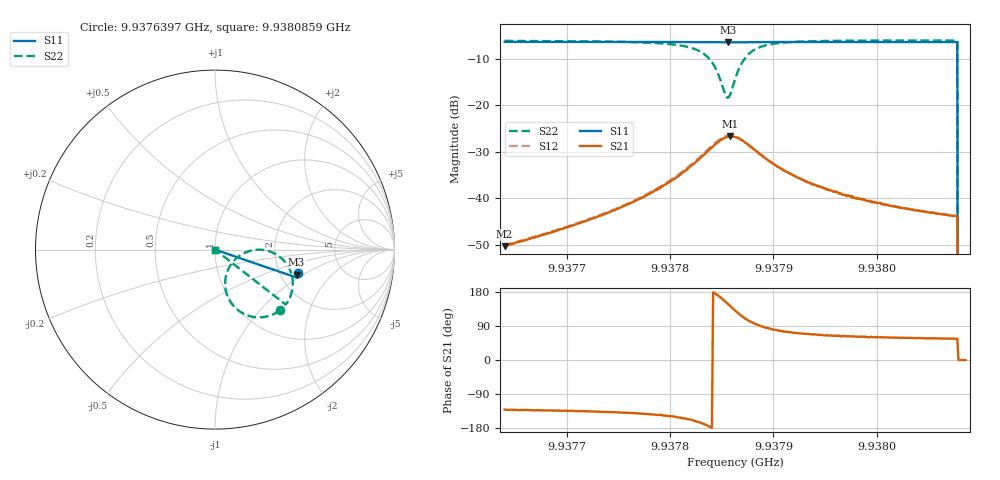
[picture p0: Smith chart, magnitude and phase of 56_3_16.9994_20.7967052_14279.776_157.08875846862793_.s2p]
#  HZ  S  RI  R  50.00
! Rohde & Schwarz Vector Network Analyzer
! Rohde-Schwarz,ZNB20-2Port,1311601062101988,3.16
! Created: UTC 3/20/2024, 10:54:37 PM
! freq[Hz]  re:S11  im:S11  re:S21  im:S21  re:S12  im:S12  re:S22  im:S22
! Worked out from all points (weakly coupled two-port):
!   401 points, 9.9376397 GHz to 9.9380859 GHz, reference 50 ohm
!   highest |S21| = -26.66 dB at 9.9378584 GHz (marker M1); lowest = -50.3 dB at 9.9376397 GHz (marker M2)
!   lowest |S11| = -6.5 dB at 9.9378561 GHz (marker M3), VSWR 2.81, Z = 122 - j44.2 ohm
!   |S11| at or under -10 dB: 9.9380781 GHz to end of sweep
!   |S22| runs from - to -6.0 dB; largest |S21 - S12| = 0.0029
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9.93763974e9  0.4646 -0.1283  -0.002 -0.00232  -0.00213 -0.00232  0.3598 -0.3389
9.93771447e9  0.4625 -0.1335  -0.00394 -0.00392  -0.00404 -0.00391  0.339 -0.3527
9.9377602e9  0.4612 -0.1367  -0.00667 -0.00567  -0.00689 -0.0057  0.3118 -0.3654
9.9377892e9  0.4601 -0.139  -0.0105 -0.00738  -0.0109 -0.00739  0.2771 -0.375
9.93781597e9  0.4585 -0.1411  -0.0184 -0.00847  -0.0194 -0.00831  0.208 -0.3742
9.9378327e9  0.4569 -0.142  -0.029 -0.00577  -0.0302 -0.00496  0.1251 -0.3349
9.93784274e9  0.4555 -0.1419  -0.0373 0.00203  -0.0386 0.00364  0.0687 -0.2571
9.9378472e9  0.4549 -0.1416  -0.0401 0.00829  -0.0413 0.0105  0.0564 -0.2002
9.93785278e9  0.4544 -0.1409  -0.0409 0.0183  -0.041 0.021  0.0704 -0.1177
9.93785613e9  0.4544 -0.1403  -0.039 0.0245  -0.0384 0.0273  0.0989 -0.0695
9.93785836e9  0.4546 -0.1399  -0.0367 0.0285  -0.0356 0.0312  0.1253 -0.0432
9.93786282e9  0.4551 -0.1392  -0.0299 0.0347  -0.0282 0.0367  0.1901 -0.00865
9.93786728e9  0.4558 -0.1391  -0.0222 0.0376  -0.0201 0.0391  0.2567 -0.000936
9.93787174e9  0.4566 -0.1391  -0.0148 0.0379  -0.013 0.0386  0.3132 -0.0132
9.93788401e9  0.4581 -0.1403  -0.00202 0.0319  -0.000659 0.0317  0.4012 -0.0831
9.93790855e9  0.4584 -0.1432  0.00507 0.02  0.00545 0.0198  0.4339 -0.1864
9.93793755e9  0.4579 -0.1457  0.00534 0.0131  0.00584 0.0132  0.4269 -0.2403
9.93796878e9  0.4572 -0.1483  0.00493 0.00975  0.00511 0.00967  0.4164 -0.2687
9.93801228e9  0.4559 -0.1513  0.00428 0.0072  0.00447 0.00721  0.4055 -0.2896
9.93807586e9  0.4543 -0.1556  0.00359 0.00537  0.00372 0.00535  0.3943 -0.3062
9.93808144e9  0 0  0 0  0 0  0 0
9.9380859e9  0 0  0 0  0 0  0 0
